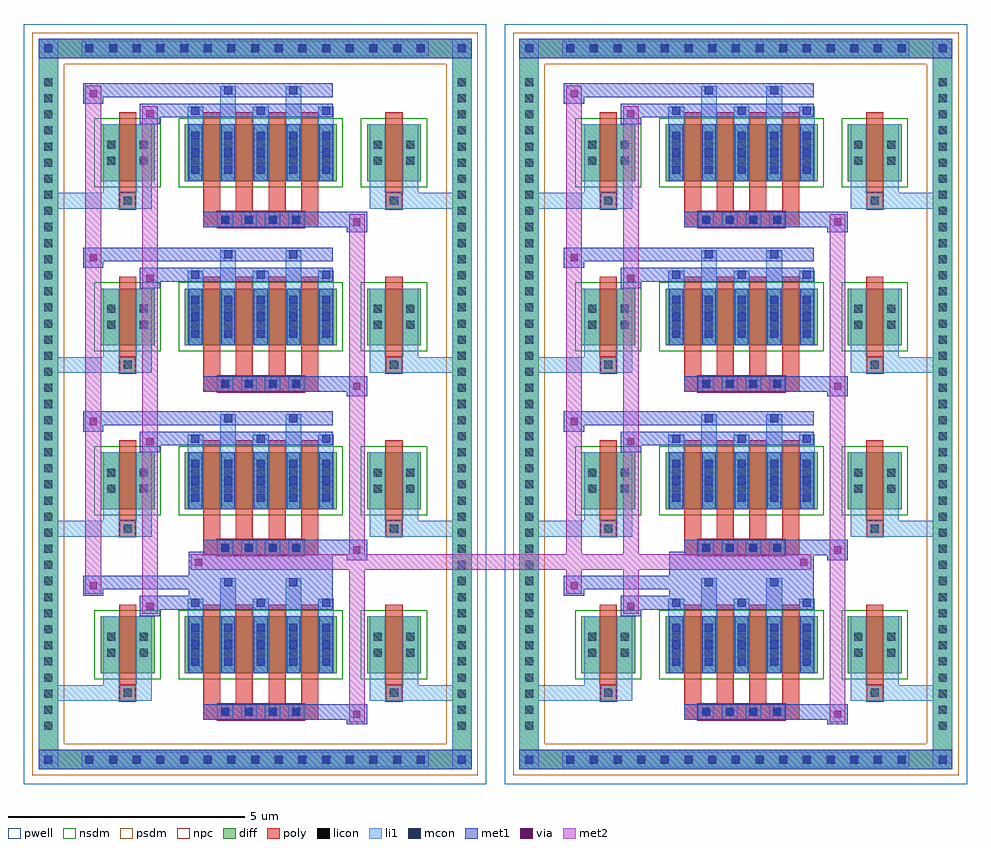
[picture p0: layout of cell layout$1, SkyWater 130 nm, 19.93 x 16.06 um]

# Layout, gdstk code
import gdstk
lib = gdstk.Library(unit=1e-6, precision=5e-09)
def R(c, l, rs):  # rectangles x0, y0, x1, y1
    for r in rs: c.add(gdstk.rectangle(r[:2], r[2:], *l))
def A(c, l, x, y, w, h, nx, ny, dx, dy):  # array of equal rectangles
    R(c, l, [(x+i*dx, y+j*dy, x+i*dx+w, y+j*dy+h) for i in range(nx) for j in range(ny)])
def P(c, l, *ps):  # polygons
    for p in ps: c.add(gdstk.Polygon(p, *l))
pwell = (64, 44)
diff = (65, 20)
poly = (66, 20)
licon = (66, 44)
li1 = (67, 20)
mcon = (67, 44)
met1 = (68, 20)
via = (68, 44)
met2 = (69, 20)
nsdm = (93, 44)
psdm = (94, 20)
npc = (95, 20)

unnamed_150e9835 = lib.new_cell('Unnamed_150e9835')
R(unnamed_150e9835, pwell, [(-4.885,-8.03,4.885,8.03)])
A(unnamed_150e9835, diff, -3.705, -7.72, 0.41, 0.41, 15, 2, 0.5, 15.03)
A(unnamed_150e9835, diff, -4.575, -7.005, 0.41, 0.41, 1, 41, 0, 0.34)
A(unnamed_150e9835, diff, 4.165, -7.005, 0.41, 0.41, 1, 41, 0, 0.34)
R(unnamed_150e9835, diff, [(-3.705,-7.72,3.705,-7.31), (-4.575,-7.005,-4.165,7.005), (4.165,-7.005,4.575,7.005), (-3.265,-5.69,-2.125,-4.49), (-1.485,-5.69,1.725,-4.49), (2.365,-5.69,3.505,-4.49), (-3.265,-2.22,-2.125,-1.02), (-1.485,-2.22,1.725,-1.02), (2.365,-2.22,3.505,-1.02), (-3.265,1.24,-2.125,2.44), (-1.485,1.24,1.725,2.44), (2.365,1.24,3.505,2.44), (-3.265,4.71,-2.125,5.91), (-1.485,4.71,1.725,5.91), (2.365,4.71,3.505,5.91), (-3.705,7.31,3.705,7.72)])
P(unnamed_150e9835, diff, [(4.575,7.72),(-4.575,7.72),(-4.575,-7.31),(-4.165,-7.31),(-4.165,7.31),(4.165,7.31),(4.165,-7.31),(-4.165,-7.31),(-4.575,-7.31),(-4.575,-7.72),(4.575,-7.72)])
A(unnamed_150e9835, poly, -0.795, -6.67, 0.33, 0.33, 4, 2, 0.5, 3.47)
A(unnamed_150e9835, poly, -1.095, -6.34, 0.36, 0.4, 4, 2, 0.69, 3.47)
A(unnamed_150e9835, poly, -1.095, -5.94, 0.36, 1.7, 4, 2, 0.69, 3.47)
A(unnamed_150e9835, poly, -0.795, 0.26, 0.33, 0.33, 4, 2, 0.5, 3.47)
A(unnamed_150e9835, poly, -1.095, 0.59, 0.36, 0.4, 4, 2, 0.69, 3.47)
A(unnamed_150e9835, poly, -1.095, 0.99, 0.36, 1.7, 4, 2, 0.69, 3.47)
R(unnamed_150e9835, poly, [(-1.095,-6.67,1.335,-6.34), (-2.86,-6.27,-2.53,-5.94), (-2.86,-6.27,-2.53,-5.94), (2.77,-6.27,3.1,-5.94), (2.77,-6.27,3.1,-5.94), (-2.875,-5.94,-2.515,-4.24), (2.755,-5.94,3.115,-4.24), (-1.095,-3.2,1.335,-2.87), (-2.86,-2.8,-2.53,-2.47), (-2.86,-2.8,-2.53,-2.47), (2.77,-2.8,3.1,-2.47), (2.77,-2.8,3.1,-2.47), (-2.875,-2.47,-2.515,-0.77), (2.755,-2.47,3.115,-0.77), (-1.095,0.26,1.335,0.59), (-2.86,0.66,-2.53,0.99), (-2.86,0.66,-2.53,0.99), (2.77,0.66,3.1,0.99), (2.77,0.66,3.1,0.99), (-2.875,0.99,-2.515,2.69), (2.755,0.99,3.115,2.69), (-1.095,3.73,1.335,4.06), (-2.86,4.13,-2.53,4.46), (-2.86,4.13,-2.53,4.46), (2.77,4.13,3.1,4.46), (2.77,4.13,3.1,4.46), (-2.875,4.46,-2.515,6.16), (2.755,4.46,3.115,6.16)])
A(unnamed_150e9835, licon, -3.585, -7.6, 0.17, 0.17, 15, 2, 0.5, 15.03)
A(unnamed_150e9835, licon, -4.455, -6.885, 0.17, 0.17, 1, 41, 0, 0.34)
A(unnamed_150e9835, licon, 4.285, -6.885, 0.17, 0.17, 1, 41, 0, 0.34)
A(unnamed_150e9835, licon, -0.715, -6.59, 0.17, 0.17, 4, 2, 0.5, 3.47)
A(unnamed_150e9835, licon, -1.345, -5.345, 0.17, 0.17, 5, 2, 0.69, 0.34)
A(unnamed_150e9835, licon, -1.345, -1.875, 0.17, 0.17, 5, 2, 0.69, 0.34)
A(unnamed_150e9835, licon, -0.715, 0.34, 0.17, 0.17, 4, 2, 0.5, 3.47)
A(unnamed_150e9835, licon, -1.345, 1.585, 0.17, 0.17, 5, 2, 0.69, 0.34)
A(unnamed_150e9835, licon, -1.345, 5.055, 0.17, 0.17, 5, 2, 0.69, 0.34)
R(unnamed_150e9835, licon, [(-2.78,-6.19,-2.61,-6.02), (2.85,-6.19,3.02,-6.02), (-3.125,-5.345,-2.955,-5.175), (-2.435,-5.345,-2.265,-5.175), (2.505,-5.345,2.675,-5.175), (3.195,-5.345,3.365,-5.175), (-3.125,-5.005,-2.955,-4.835), (-2.435,-5.005,-2.265,-4.835), (2.505,-5.005,2.675,-4.835), (3.195,-5.005,3.365,-4.835), (-2.78,-2.72,-2.61,-2.55), (2.85,-2.72,3.02,-2.55), (-3.125,-1.875,-2.955,-1.705), (-2.435,-1.875,-2.265,-1.705), (2.505,-1.875,2.675,-1.705), (3.195,-1.875,3.365,-1.705), (-3.125,-1.535,-2.955,-1.365), (-2.435,-1.535,-2.265,-1.365), (2.505,-1.535,2.675,-1.365), (3.195,-1.535,3.365,-1.365), (-2.78,0.74,-2.61,0.91), (2.85,0.74,3.02,0.91), (-3.125,1.585,-2.955,1.755), (-2.435,1.585,-2.265,1.755), (2.505,1.585,2.675,1.755), (3.195,1.585,3.365,1.755), (-3.125,1.925,-2.955,2.095), (-2.435,1.925,-2.265,2.095), (2.505,1.925,2.675,2.095), (3.195,1.925,3.365,2.095), (-2.78,4.21,-2.61,4.38), (2.85,4.21,3.02,4.38), (-3.125,5.055,-2.955,5.225), (-2.435,5.055,-2.265,5.225), (2.505,5.055,2.675,5.225), (3.195,5.055,3.365,5.225), (-3.125,5.395,-2.955,5.565), (-2.435,5.395,-2.265,5.565), (2.505,5.395,2.675,5.565), (3.195,5.395,3.365,5.565)])
A(unnamed_150e9835, li1, -3.665, -7.68, 0.33, 0.33, 15, 2, 0.5, 15.03)
A(unnamed_150e9835, li1, -4.535, -6.965, 0.33, 0.33, 1, 41, 0, 0.34)
A(unnamed_150e9835, li1, 4.205, -6.965, 0.33, 0.33, 1, 41, 0, 0.34)
A(unnamed_150e9835, li1, -0.795, -6.67, 0.33, 0.33, 4, 2, 0.5, 3.47)
A(unnamed_150e9835, li1, -1.425, -5.69, 0.33, 1.2, 5, 2, 0.69, 3.47)
A(unnamed_150e9835, li1, -1.345, -5.535, 0.17, 0.17, 5, 3, 0.69, 0.36)
A(unnamed_150e9835, li1, -1.345, -5.535, 0.17, 0.89, 5, 2, 0.69, 3.47)
A(unnamed_150e9835, li1, -1.425, -5.425, 0.33, 0.33, 5, 2, 0.69, 0.34)
A(unnamed_150e9835, li1, -1.425, -4.49, 0.33, 0.375, 3, 2, 1.38, 3.47)
A(unnamed_150e9835, li1, -1.345, -4.285, 0.17, 0.17, 3, 2, 1.38, 3.47)
A(unnamed_150e9835, li1, -1.345, -2.065, 0.17, 0.17, 5, 3, 0.69, 0.36)
A(unnamed_150e9835, li1, -1.425, -1.955, 0.33, 0.33, 5, 2, 0.69, 0.34)
A(unnamed_150e9835, li1, -0.795, 0.26, 0.33, 0.33, 4, 2, 0.5, 3.47)
A(unnamed_150e9835, li1, -1.425, 1.24, 0.33, 1.2, 5, 2, 0.69, 3.47)
A(unnamed_150e9835, li1, -1.345, 1.395, 0.17, 0.17, 5, 3, 0.69, 0.36)
A(unnamed_150e9835, li1, -1.345, 1.395, 0.17, 0.89, 5, 2, 0.69, 3.47)
A(unnamed_150e9835, li1, -1.425, 1.505, 0.33, 0.33, 5, 2, 0.69, 0.34)
A(unnamed_150e9835, li1, -1.425, 2.44, 0.33, 0.375, 3, 2, 1.38, 3.47)
A(unnamed_150e9835, li1, -1.345, 2.645, 0.17, 0.17, 3, 2, 1.38, 3.47)
A(unnamed_150e9835, li1, -1.345, 4.865, 0.17, 0.17, 5, 3, 0.69, 0.36)
A(unnamed_150e9835, li1, -1.425, 4.975, 0.33, 0.33, 5, 2, 0.69, 0.34)
R(unnamed_150e9835, li1, [(-4.575,-7.72,-4.165,-7.31), (4.165,-7.72,4.575,-7.31), (-3.665,-7.68,3.665,-7.35), (-4.455,-7.6,-4.285,-7.43), (-4.455,-7.6,-4.285,-7.43), (4.285,-7.6,4.455,-7.43), (4.285,-7.6,4.455,-7.43), (-4.575,-7.31,-4.165,7.31), (4.165,-7.31,4.575,7.31), (-4.575,-6.27,-2.86,-5.94), (-3.205,-6.27,-2.86,-5.94), (-3.205,-6.27,-2.875,-5.69), (-2.86,-6.27,-2.53,-5.94), (-2.53,-6.27,-2.185,-5.94), (-2.515,-6.27,-2.185,-5.69), (2.425,-6.27,2.77,-5.94), (2.425,-6.27,2.755,-5.69), (2.77,-6.27,3.1,-5.94), (2.77,-6.27,4.575,-5.94), (3.1,-6.27,3.445,-5.94), (3.115,-6.27,3.445,-5.69), (-3.205,-5.69,-2.875,-4.49), (-2.515,-5.69,-2.185,-4.49), (2.425,-5.69,2.755,-4.49), (3.115,-5.69,3.445,-4.49), (-3.205,-5.425,-2.875,-5.095), (-2.515,-5.425,-2.185,-5.095), (2.425,-5.425,2.755,-5.095), (3.115,-5.425,3.445,-5.095), (-3.205,-5.085,-2.875,-4.755), (-2.515,-5.085,-2.185,-4.755), (2.425,-5.085,2.755,-4.755), (3.115,-5.085,3.445,-4.755), (-0.735,-4.49,-0.405,-3.685), (0.645,-4.49,0.975,-3.685), (-0.655,-3.855,-0.485,-3.685), (0.725,-3.855,0.895,-3.685), (-4.575,-2.8,-2.86,-2.47), (-3.205,-2.8,-2.86,-2.47), (-3.205,-2.8,-2.875,-2.22), (-2.86,-2.8,-2.53,-2.47), (-2.53,-2.8,-2.185,-2.47), (-2.515,-2.8,-2.185,-2.22), (2.425,-2.8,2.77,-2.47), (2.425,-2.8,2.755,-2.22), (2.77,-2.8,3.1,-2.47), (2.77,-2.8,4.575,-2.47), (3.1,-2.8,3.445,-2.47), (3.115,-2.8,3.445,-2.22), (-3.205,-2.22,-2.875,-1.02), (-2.515,-2.22,-2.185,-1.02), (2.425,-2.22,2.755,-1.02), (3.115,-2.22,3.445,-1.02), (-3.205,-1.955,-2.875,-1.625), (-2.515,-1.955,-2.185,-1.625), (2.425,-1.955,2.755,-1.625), (3.115,-1.955,3.445,-1.625), (-3.205,-1.615,-2.875,-1.285), (-2.515,-1.615,-2.185,-1.285), (2.425,-1.615,2.755,-1.285), (3.115,-1.615,3.445,-1.285), (-0.735,-1.02,-0.405,-0.215), (0.645,-1.02,0.975,-0.215), (-0.655,-0.385,-0.485,-0.215), (0.725,-0.385,0.895,-0.215), (-4.575,0.66,-2.86,0.99), (-3.205,0.66,-2.86,0.99), (-3.205,0.66,-2.875,1.24), (-2.86,0.66,-2.53,0.99), (-2.53,0.66,-2.185,0.99), (-2.515,0.66,-2.185,1.24), (2.425,0.66,2.77,0.99), (2.425,0.66,2.755,1.24), (2.77,0.66,3.1,0.99), (2.77,0.66,4.575,0.99), (3.1,0.66,3.445,0.99), (3.115,0.66,3.445,1.24), (-3.205,1.24,-2.875,2.44), (-2.515,1.24,-2.185,2.44), (2.425,1.24,2.755,2.44), (3.115,1.24,3.445,2.44), (-3.205,1.505,-2.875,1.835), (-2.515,1.505,-2.185,1.835), (2.425,1.505,2.755,1.835), (3.115,1.505,3.445,1.835), (-3.205,1.845,-2.875,2.175), (-2.515,1.845,-2.185,2.175), (2.425,1.845,2.755,2.175), (3.115,1.845,3.445,2.175), (-0.735,2.44,-0.405,3.245), (0.645,2.44,0.975,3.245), (-0.655,3.075,-0.485,3.245), (0.725,3.075,0.895,3.245), (-4.575,4.13,-2.86,4.46), (-3.205,4.13,-2.86,4.46), (-3.205,4.13,-2.875,4.71), (-2.86,4.13,-2.53,4.46), (-2.53,4.13,-2.185,4.46), (-2.515,4.13,-2.185,4.71), (2.425,4.13,2.77,4.46), (2.425,4.13,2.755,4.71), (2.77,4.13,3.1,4.46), (2.77,4.13,4.575,4.46), (3.1,4.13,3.445,4.46), (3.115,4.13,3.445,4.71), (-3.205,4.71,-2.875,5.91), (-2.515,4.71,-2.185,5.91), (2.425,4.71,2.755,5.91), (3.115,4.71,3.445,5.91), (-3.205,4.975,-2.875,5.305), (-2.515,4.975,-2.185,5.305), (2.425,4.975,2.755,5.305), (3.115,4.975,3.445,5.305), (-3.205,5.315,-2.875,5.645), (-2.515,5.315,-2.185,5.645), (2.425,5.315,2.755,5.645), (3.115,5.315,3.445,5.645), (-0.735,5.91,-0.405,6.715), (0.645,5.91,0.975,6.715), (-0.655,6.545,-0.485,6.715), (0.725,6.545,0.895,6.715), (-4.575,7.31,-4.165,7.72), (4.165,7.31,4.575,7.72), (-3.665,7.35,3.665,7.68), (-4.455,7.43,-4.285,7.6), (-4.455,7.43,-4.285,7.6), (4.285,7.43,4.455,7.6), (4.285,7.43,4.455,7.6)])
A(unnamed_150e9835, mcon, -3.585, -7.6, 0.17, 0.17, 15, 2, 0.5, 15.03)
A(unnamed_150e9835, mcon, -0.715, -6.59, 0.17, 0.17, 4, 2, 0.5, 3.47)
A(unnamed_150e9835, mcon, -1.345, -5.535, 0.17, 0.17, 5, 3, 0.69, 0.36)
A(unnamed_150e9835, mcon, -1.345, -4.285, 0.17, 0.17, 3, 2, 1.38, 3.47)
A(unnamed_150e9835, mcon, -1.345, -2.065, 0.17, 0.17, 5, 3, 0.69, 0.36)
A(unnamed_150e9835, mcon, -0.715, 0.34, 0.17, 0.17, 4, 2, 0.5, 3.47)
A(unnamed_150e9835, mcon, -1.345, 1.395, 0.17, 0.17, 5, 3, 0.69, 0.36)
A(unnamed_150e9835, mcon, -1.345, 2.645, 0.17, 0.17, 3, 2, 1.38, 3.47)
A(unnamed_150e9835, mcon, -1.345, 4.865, 0.17, 0.17, 5, 3, 0.69, 0.36)
R(unnamed_150e9835, mcon, [(-4.455,-7.6,-4.285,-7.43), (4.285,-7.6,4.455,-7.43), (-0.655,-3.855,-0.485,-3.685), (0.725,-3.855,0.895,-3.685), (-0.655,-0.385,-0.485,-0.215), (0.725,-0.385,0.895,-0.215), (-0.655,3.075,-0.485,3.245), (0.725,3.075,0.895,3.245), (-0.655,6.545,-0.485,6.715), (0.725,6.545,0.895,6.715), (-4.455,7.43,-4.285,7.6), (4.285,7.43,4.455,7.6)])
A(unnamed_150e9835, met1, -3.645, -7.66, 0.29, 0.29, 15, 2, 0.5, 15.03)
A(unnamed_150e9835, met1, -0.775, -6.65, 0.29, 0.29, 4, 2, 0.5, 3.47)
A(unnamed_150e9835, met1, -1.405, -5.69, 0.29, 1.2, 5, 2, 0.69, 3.47)
A(unnamed_150e9835, met1, -1.405, -5.595, 0.29, 0.29, 5, 3, 0.69, 0.36)
A(unnamed_150e9835, met1, -1.405, -4.345, 0.29, 0.29, 3, 2, 1.38, 3.47)
A(unnamed_150e9835, met1, -1.405, -2.125, 0.29, 0.29, 5, 3, 0.69, 0.36)
A(unnamed_150e9835, met1, -0.775, 0.28, 0.29, 0.29, 4, 2, 0.5, 3.47)
A(unnamed_150e9835, met1, -1.405, 1.24, 0.29, 1.2, 5, 2, 0.69, 3.47)
A(unnamed_150e9835, met1, -1.405, 1.335, 0.29, 0.29, 5, 3, 0.69, 0.36)
A(unnamed_150e9835, met1, -1.405, 2.585, 0.29, 0.29, 3, 2, 1.38, 3.47)
A(unnamed_150e9835, met1, -1.405, 4.805, 0.29, 0.29, 5, 3, 0.69, 0.36)
R(unnamed_150e9835, met1, [(-4.575,-7.72,-4.165,-7.31), (-4.575,-7.72,-4.165,-7.31), (-4.165,-7.72,4.165,-7.31), (4.165,-7.72,4.575,-7.31), (4.165,-7.72,4.575,-7.31), (-4.515,-7.66,-4.225,-7.37), (4.225,-7.66,4.515,-7.37), (1.935,-6.77,2.365,-6.34), (-1.095,-6.67,1.335,-6.34), (1.335,-6.67,2.365,-6.34), (-2.435,-4.485,-2.005,-4.055), (-2.435,-4.345,-1.405,-4.055), (-1.405,-4.345,1.645,-4.055), (-3.635,-4.055,-3.205,-3.625), (-3.635,-3.915,-1.405,-3.625), (-1.405,-3.915,1.645,-3.625), (-0.715,-3.915,-0.425,-3.625), (0.665,-3.915,0.955,-3.625), (1.935,-3.3,2.365,-2.87), (1.935,-3.3,2.365,-2.87), (-1.095,-3.2,1.335,-2.87), (1.335,-3.2,2.365,-2.87), (1.335,-3.2,2.365,-2.87), (-2.435,-1.015,-2.005,-0.585), (-2.435,-1.015,-2.005,-0.585), (-2.435,-0.875,-1.405,-0.585), (-2.435,-0.875,-1.405,-0.585), (-1.405,-0.875,1.645,-0.585), (-3.635,-0.585,-3.205,-0.155), (-3.635,-0.585,-3.205,-0.155), (-3.635,-0.445,-1.405,-0.155), (-3.635,-0.445,-1.405,-0.155), (-1.405,-0.445,1.645,-0.155), (-0.715,-0.445,-0.425,-0.155), (0.665,-0.445,0.955,-0.155), (1.935,0.16,2.365,0.59), (1.935,0.16,2.365,0.59), (-1.095,0.26,1.335,0.59), (1.335,0.26,2.365,0.59), (1.335,0.26,2.365,0.59), (-2.435,2.445,-2.005,2.875), (-2.435,2.445,-2.005,2.875), (-2.435,2.585,-1.405,2.875), (-2.435,2.585,-1.405,2.875), (-1.405,2.585,1.645,2.875), (-3.635,2.875,-3.205,3.305), (-3.635,2.875,-3.205,3.305), (-3.635,3.015,-1.405,3.305), (-3.635,3.015,-1.405,3.305), (-1.405,3.015,1.645,3.305), (-0.715,3.015,-0.425,3.305), (0.665,3.015,0.955,3.305), (1.935,3.63,2.365,4.06), (-1.095,3.73,1.335,4.06), (1.335,3.73,2.365,4.06), (-2.435,5.915,-2.005,6.345), (-2.435,6.055,-1.405,6.345), (-1.405,6.055,1.645,6.345), (-3.635,6.345,-3.205,6.775), (-3.635,6.485,-1.405,6.775), (-1.405,6.485,1.645,6.775), (-0.715,6.485,-0.425,6.775), (0.665,6.485,0.955,6.775), (-4.575,7.31,-4.165,7.72), (-4.575,7.31,-4.165,7.72), (-4.165,7.31,4.165,7.72), (4.165,7.31,4.575,7.72), (4.165,7.31,4.575,7.72), (-4.515,7.37,-4.225,7.66), (4.225,7.37,4.515,7.66)])
R(unnamed_150e9835, via, [(2.075,-6.63,2.225,-6.48), (-2.295,-4.345,-2.145,-4.195), (-3.495,-3.915,-3.345,-3.765), (2.075,-3.16,2.225,-3.01), (2.075,-3.16,2.225,-3.01), (-2.295,-0.875,-2.145,-0.725), (-2.295,-0.875,-2.145,-0.725), (-3.495,-0.445,-3.345,-0.295), (-3.495,-0.445,-3.345,-0.295), (2.075,0.3,2.225,0.45), (2.075,0.3,2.225,0.45), (-2.295,2.585,-2.145,2.735), (-2.295,2.585,-2.145,2.735), (-3.495,3.015,-3.345,3.165), (-3.495,3.015,-3.345,3.165), (2.075,3.77,2.225,3.92), (-2.295,6.055,-2.145,6.205), (-3.495,6.485,-3.345,6.635)])
R(unnamed_150e9835, met2, [(1.985,-6.72,2.315,-6.39), (1.985,-6.72,2.315,-2.92), (-2.385,-4.435,-2.055,-4.105), (-2.385,-4.435,-2.055,-0.635), (-3.585,-4.005,-3.255,-3.675), (-3.585,-4.005,-3.255,-0.205), (1.985,-3.25,2.315,-2.92), (1.985,-3.25,2.315,-2.92), (1.985,-3.25,2.315,0.54), (-2.385,-0.965,-2.055,-0.635), (-2.385,-0.965,-2.055,-0.635), (-2.385,-0.965,-2.055,2.825), (-3.585,-0.535,-3.255,-0.205), (-3.585,-0.535,-3.255,-0.205), (-3.585,-0.535,-3.255,3.255), (1.985,0.21,2.315,0.54), (1.985,0.21,2.315,0.54), (1.985,0.21,2.315,4.01), (-2.385,2.495,-2.055,2.825), (-2.385,2.495,-2.055,2.825), (-2.385,2.495,-2.055,6.295), (-3.585,2.925,-3.255,3.255), (-3.585,2.925,-3.255,3.255), (-3.585,2.925,-3.255,6.725), (1.985,3.68,2.315,4.01), (-2.385,5.965,-2.055,6.295), (-3.585,6.395,-3.255,6.725)])
P(unnamed_150e9835, met2, [(2.315,0.21),(2.315,0.21),(2.315,0.54),(2.315,0.54)],
  [(2.315,3.68),(2.315,3.68),(2.315,4.01),(2.315,4.01)],
  [(-3.255,2.925),(-3.255,2.925),(-3.255,3.255),(-3.255,3.255)],
  [(-3.255,6.395),(-3.255,6.395),(-3.255,6.725),(-3.255,6.725)],
  [(-2.055,2.495),(-2.055,2.495),(-2.055,2.825),(-2.055,2.825)],
  [(-2.055,5.965),(-2.055,5.965),(-2.055,6.295),(-2.055,6.295)],
  [(2.315,-3.25),(2.315,-3.25),(2.315,-2.92),(2.315,-2.92)],
  [(2.315,0.21),(2.315,0.21),(2.315,0.54),(2.315,0.54)],
  [(-3.255,-0.535),(-3.255,-0.535),(-3.255,-0.205),(-3.255,-0.205)],
  [(-3.255,2.925),(-3.255,2.925),(-3.255,3.255),(-3.255,3.255)],
  [(-2.055,-0.965),(-2.055,-0.965),(-2.055,-0.635),(-2.055,-0.635)],
  [(-2.055,2.495),(-2.055,2.495),(-2.055,2.825),(-2.055,2.825)],
  [(2.315,-6.72),(2.315,-6.72),(2.315,-6.39),(2.315,-6.39)],
  [(2.315,-3.25),(2.315,-3.25),(2.315,-2.92),(2.315,-2.92)],
  [(-3.255,-4.005),(-3.255,-4.005),(-3.255,-3.675),(-3.255,-3.675)],
  [(-3.255,-0.535),(-3.255,-0.535),(-3.255,-0.205),(-3.255,-0.205)],
  [(-2.055,-4.435),(-2.055,-4.435),(-2.055,-4.105),(-2.055,-4.105)],
  [(-2.055,-0.965),(-2.055,-0.965),(-2.055,-0.635),(-2.055,-0.635)])
R(unnamed_150e9835, nsdm, [(-3.395,-5.82,-1.995,-4.36), (-1.615,-5.82,1.855,-4.36), (2.235,-5.82,3.635,-4.36), (-3.395,-2.35,-1.995,-0.89), (-1.615,-2.35,1.855,-0.89), (2.235,-2.35,3.635,-0.89), (-3.395,1.11,-1.995,2.57), (-1.615,1.11,1.855,2.57), (2.235,1.11,3.635,2.57), (-3.395,4.58,-1.995,6.04), (-1.615,4.58,1.855,6.04), (2.235,4.58,3.635,6.04)])
P(unnamed_150e9835, psdm, [(4.705,7.85),(-4.705,7.85),(-4.705,-7.18),(-4.035,-7.18),(-4.035,7.18),(4.035,7.18),(4.035,-7.18),(-4.035,-7.18),(-4.705,-7.18),(-4.705,-7.85),(4.705,-7.85)])
A(unnamed_150e9835, npc, -0.815, -6.69, 0.37, 0.37, 4, 2, 0.5, 3.47)
A(unnamed_150e9835, npc, -0.815, 0.24, 0.37, 0.37, 4, 2, 0.5, 3.47)
R(unnamed_150e9835, npc, [(-0.815,-6.69,0.055,-6.32), (-0.815,-6.69,0.055,-6.32), (-0.315,-6.69,0.555,-6.32), (-0.315,-6.69,0.555,-6.32), (0.185,-6.69,1.055,-6.32), (0.185,-6.69,1.055,-6.32), (-2.88,-6.29,-2.51,-5.92), (2.75,-6.29,3.12,-5.92), (-0.815,-3.22,0.055,-2.85), (-0.815,-3.22,0.055,-2.85), (-0.315,-3.22,0.555,-2.85), (-0.315,-3.22,0.555,-2.85), (0.185,-3.22,1.055,-2.85), (0.185,-3.22,1.055,-2.85), (-2.88,-2.82,-2.51,-2.45), (2.75,-2.82,3.12,-2.45), (-0.815,0.24,0.055,0.61), (-0.815,0.24,0.055,0.61), (-0.315,0.24,0.555,0.61), (-0.315,0.24,0.555,0.61), (0.185,0.24,1.055,0.61), (0.185,0.24,1.055,0.61), (-2.88,0.64,-2.51,1.01), (2.75,0.64,3.12,1.01), (-0.815,3.71,0.055,4.08), (-0.815,3.71,0.055,4.08), (-0.315,3.71,0.555,4.08), (-0.315,3.71,0.555,4.08), (0.185,3.71,1.055,4.08), (0.185,3.71,1.055,4.08), (-2.88,4.11,-2.51,4.48), (2.75,4.11,3.12,4.48)])

unnamed_a1b61c4a = lib.new_cell('Unnamed_a1b61c4a')
R(unnamed_a1b61c4a, pwell, [(-4.885,-8.03,4.885,8.03)])
A(unnamed_a1b61c4a, diff, -3.705, -7.72, 0.41, 0.41, 15, 2, 0.5, 15.03)
A(unnamed_a1b61c4a, diff, -4.575, -7.005, 0.41, 0.41, 1, 41, 0, 0.34)
A(unnamed_a1b61c4a, diff, 4.165, -7.005, 0.41, 0.41, 1, 41, 0, 0.34)
R(unnamed_a1b61c4a, diff, [(-3.705,-7.72,3.705,-7.31), (-4.575,-7.005,-4.165,7.005), (4.165,-7.005,4.575,7.005), (-3.265,-5.69,-2.125,-4.49), (-1.485,-5.69,1.725,-4.49), (2.365,-5.69,3.505,-4.49), (-3.265,-2.22,-2.125,-1.02), (-1.485,-2.22,1.725,-1.02), (2.365,-2.22,3.505,-1.02), (-3.265,1.24,-2.125,2.44), (-1.485,1.24,1.725,2.44), (2.365,1.24,3.505,2.44), (-3.265,4.71,-2.125,5.91), (-1.485,4.71,1.725,5.91), (2.365,4.71,3.505,5.91), (-3.705,7.31,3.705,7.72)])
P(unnamed_a1b61c4a, diff, [(4.575,7.72),(-4.575,7.72),(-4.575,-7.31),(-4.165,-7.31),(-4.165,7.31),(4.165,7.31),(4.165,-7.31),(-4.165,-7.31),(-4.575,-7.31),(-4.575,-7.72),(4.575,-7.72)])
A(unnamed_a1b61c4a, poly, -0.795, -6.67, 0.33, 0.33, 4, 2, 0.5, 3.47)
A(unnamed_a1b61c4a, poly, -1.095, -6.34, 0.36, 0.4, 4, 2, 0.69, 3.47)
A(unnamed_a1b61c4a, poly, -1.095, -5.94, 0.36, 1.7, 4, 2, 0.69, 3.47)
A(unnamed_a1b61c4a, poly, -0.795, 0.26, 0.33, 0.33, 4, 2, 0.5, 3.47)
A(unnamed_a1b61c4a, poly, -1.095, 0.59, 0.36, 0.4, 4, 2, 0.69, 3.47)
A(unnamed_a1b61c4a, poly, -1.095, 0.99, 0.36, 1.7, 4, 2, 0.69, 3.47)
R(unnamed_a1b61c4a, poly, [(-1.095,-6.67,1.335,-6.34), (-2.86,-6.27,-2.53,-5.94), (-2.86,-6.27,-2.53,-5.94), (2.77,-6.27,3.1,-5.94), (2.77,-6.27,3.1,-5.94), (-2.875,-5.94,-2.515,-4.24), (2.755,-5.94,3.115,-4.24), (-1.095,-3.2,1.335,-2.87), (-2.86,-2.8,-2.53,-2.47), (-2.86,-2.8,-2.53,-2.47), (2.77,-2.8,3.1,-2.47), (2.77,-2.8,3.1,-2.47), (-2.875,-2.47,-2.515,-0.77), (2.755,-2.47,3.115,-0.77), (-1.095,0.26,1.335,0.59), (-2.86,0.66,-2.53,0.99), (-2.86,0.66,-2.53,0.99), (2.77,0.66,3.1,0.99), (2.77,0.66,3.1,0.99), (-2.875,0.99,-2.515,2.69), (2.755,0.99,3.115,2.69), (-1.095,3.73,1.335,4.06), (-2.86,4.13,-2.53,4.46), (-2.86,4.13,-2.53,4.46), (2.77,4.13,3.1,4.46), (2.77,4.13,3.1,4.46), (-2.875,4.46,-2.515,6.16), (2.755,4.46,3.115,6.16)])
A(unnamed_a1b61c4a, licon, -3.585, -7.6, 0.17, 0.17, 15, 2, 0.5, 15.03)
A(unnamed_a1b61c4a, licon, -4.455, -6.885, 0.17, 0.17, 1, 41, 0, 0.34)
A(unnamed_a1b61c4a, licon, 4.285, -6.885, 0.17, 0.17, 1, 41, 0, 0.34)
A(unnamed_a1b61c4a, licon, -0.715, -6.59, 0.17, 0.17, 4, 2, 0.5, 3.47)
A(unnamed_a1b61c4a, licon, -1.345, -5.345, 0.17, 0.17, 5, 2, 0.69, 0.34)
A(unnamed_a1b61c4a, licon, -1.345, -1.875, 0.17, 0.17, 5, 2, 0.69, 0.34)
A(unnamed_a1b61c4a, licon, -0.715, 0.34, 0.17, 0.17, 4, 2, 0.5, 3.47)
A(unnamed_a1b61c4a, licon, -1.345, 1.585, 0.17, 0.17, 5, 2, 0.69, 0.34)
A(unnamed_a1b61c4a, licon, -1.345, 5.055, 0.17, 0.17, 5, 2, 0.69, 0.34)
R(unnamed_a1b61c4a, licon, [(-2.78,-6.19,-2.61,-6.02), (2.85,-6.19,3.02,-6.02), (-3.125,-5.345,-2.955,-5.175), (-2.435,-5.345,-2.265,-5.175), (2.505,-5.345,2.675,-5.175), (3.195,-5.345,3.365,-5.175), (-3.125,-5.005,-2.955,-4.835), (-2.435,-5.005,-2.265,-4.835), (2.505,-5.005,2.675,-4.835), (3.195,-5.005,3.365,-4.835), (-2.78,-2.72,-2.61,-2.55), (2.85,-2.72,3.02,-2.55), (-3.125,-1.875,-2.955,-1.705), (-2.435,-1.875,-2.265,-1.705), (2.505,-1.875,2.675,-1.705), (3.195,-1.875,3.365,-1.705), (-3.125,-1.535,-2.955,-1.365), (-2.435,-1.535,-2.265,-1.365), (2.505,-1.535,2.675,-1.365), (3.195,-1.535,3.365,-1.365), (-2.78,0.74,-2.61,0.91), (2.85,0.74,3.02,0.91), (-3.125,1.585,-2.955,1.755), (-2.435,1.585,-2.265,1.755), (2.505,1.585,2.675,1.755), (3.195,1.585,3.365,1.755), (-3.125,1.925,-2.955,2.095), (-2.435,1.925,-2.265,2.095), (2.505,1.925,2.675,2.095), (3.195,1.925,3.365,2.095), (-2.78,4.21,-2.61,4.38), (2.85,4.21,3.02,4.38), (-3.125,5.055,-2.955,5.225), (-2.435,5.055,-2.265,5.225), (2.505,5.055,2.675,5.225), (3.195,5.055,3.365,5.225), (-3.125,5.395,-2.955,5.565), (-2.435,5.395,-2.265,5.565), (2.505,5.395,2.675,5.565), (3.195,5.395,3.365,5.565)])
A(unnamed_a1b61c4a, li1, -3.665, -7.68, 0.33, 0.33, 15, 2, 0.5, 15.03)
A(unnamed_a1b61c4a, li1, -4.535, -6.965, 0.33, 0.33, 1, 41, 0, 0.34)
A(unnamed_a1b61c4a, li1, 4.205, -6.965, 0.33, 0.33, 1, 41, 0, 0.34)
A(unnamed_a1b61c4a, li1, -0.795, -6.67, 0.33, 0.33, 4, 2, 0.5, 3.47)
A(unnamed_a1b61c4a, li1, -1.425, -5.69, 0.33, 1.2, 5, 2, 0.69, 3.47)
A(unnamed_a1b61c4a, li1, -1.345, -5.535, 0.17, 0.17, 5, 3, 0.69, 0.36)
A(unnamed_a1b61c4a, li1, -1.345, -5.535, 0.17, 0.89, 5, 2, 0.69, 3.47)
A(unnamed_a1b61c4a, li1, -1.425, -5.425, 0.33, 0.33, 5, 2, 0.69, 0.34)
A(unnamed_a1b61c4a, li1, -1.425, -4.49, 0.33, 0.375, 3, 2, 1.38, 3.47)
A(unnamed_a1b61c4a, li1, -1.345, -4.285, 0.17, 0.17, 3, 2, 1.38, 3.47)
A(unnamed_a1b61c4a, li1, -1.345, -2.065, 0.17, 0.17, 5, 3, 0.69, 0.36)
A(unnamed_a1b61c4a, li1, -1.425, -1.955, 0.33, 0.33, 5, 2, 0.69, 0.34)
A(unnamed_a1b61c4a, li1, -0.795, 0.26, 0.33, 0.33, 4, 2, 0.5, 3.47)
A(unnamed_a1b61c4a, li1, -1.425, 1.24, 0.33, 1.2, 5, 2, 0.69, 3.47)
A(unnamed_a1b61c4a, li1, -1.345, 1.395, 0.17, 0.17, 5, 3, 0.69, 0.36)
A(unnamed_a1b61c4a, li1, -1.345, 1.395, 0.17, 0.89, 5, 2, 0.69, 3.47)
A(unnamed_a1b61c4a, li1, -1.425, 1.505, 0.33, 0.33, 5, 2, 0.69, 0.34)
A(unnamed_a1b61c4a, li1, -1.425, 2.44, 0.33, 0.375, 3, 2, 1.38, 3.47)
A(unnamed_a1b61c4a, li1, -1.345, 2.645, 0.17, 0.17, 3, 2, 1.38, 3.47)
A(unnamed_a1b61c4a, li1, -1.345, 4.865, 0.17, 0.17, 5, 3, 0.69, 0.36)
A(unnamed_a1b61c4a, li1, -1.425, 4.975, 0.33, 0.33, 5, 2, 0.69, 0.34)
R(unnamed_a1b61c4a, li1, [(-4.575,-7.72,-4.165,-7.31), (4.165,-7.72,4.575,-7.31), (-3.665,-7.68,3.665,-7.35), (-4.455,-7.6,-4.285,-7.43), (-4.455,-7.6,-4.285,-7.43), (4.285,-7.6,4.455,-7.43), (4.285,-7.6,4.455,-7.43), (-4.575,-7.31,-4.165,7.31), (4.165,-7.31,4.575,7.31), (-4.575,-6.27,-2.86,-5.94), (-3.205,-6.27,-2.86,-5.94), (-3.205,-6.27,-2.875,-5.69), (-2.86,-6.27,-2.53,-5.94), (-2.53,-6.27,-2.185,-5.94), (-2.515,-6.27,-2.185,-5.69), (2.425,-6.27,2.77,-5.94), (2.425,-6.27,2.755,-5.69), (2.77,-6.27,3.1,-5.94), (2.77,-6.27,4.575,-5.94), (3.1,-6.27,3.445,-5.94), (3.115,-6.27,3.445,-5.69), (-3.205,-5.69,-2.875,-4.49), (-2.515,-5.69,-2.185,-4.49), (2.425,-5.69,2.755,-4.49), (3.115,-5.69,3.445,-4.49), (-3.205,-5.425,-2.875,-5.095), (-2.515,-5.425,-2.185,-5.095), (2.425,-5.425,2.755,-5.095), (3.115,-5.425,3.445,-5.095), (-3.205,-5.085,-2.875,-4.755), (-2.515,-5.085,-2.185,-4.755), (2.425,-5.085,2.755,-4.755), (3.115,-5.085,3.445,-4.755), (-0.735,-4.49,-0.405,-3.685), (0.645,-4.49,0.975,-3.685), (-0.655,-3.855,-0.485,-3.685), (0.725,-3.855,0.895,-3.685), (-4.575,-2.8,-2.86,-2.47), (-3.205,-2.8,-2.86,-2.47), (-3.205,-2.8,-2.875,-2.22), (-2.86,-2.8,-2.53,-2.47), (-2.53,-2.8,-2.185,-2.47), (-2.515,-2.8,-2.185,-2.22), (2.425,-2.8,2.77,-2.47), (2.425,-2.8,2.755,-2.22), (2.77,-2.8,3.1,-2.47), (2.77,-2.8,4.575,-2.47), (3.1,-2.8,3.445,-2.47), (3.115,-2.8,3.445,-2.22), (-3.205,-2.22,-2.875,-1.02), (-2.515,-2.22,-2.185,-1.02), (2.425,-2.22,2.755,-1.02), (3.115,-2.22,3.445,-1.02), (-3.205,-1.955,-2.875,-1.625), (-2.515,-1.955,-2.185,-1.625), (2.425,-1.955,2.755,-1.625), (3.115,-1.955,3.445,-1.625), (-3.205,-1.615,-2.875,-1.285), (-2.515,-1.615,-2.185,-1.285), (2.425,-1.615,2.755,-1.285), (3.115,-1.615,3.445,-1.285), (-0.735,-1.02,-0.405,-0.215), (0.645,-1.02,0.975,-0.215), (-0.655,-0.385,-0.485,-0.215), (0.725,-0.385,0.895,-0.215), (-4.575,0.66,-2.86,0.99), (-3.205,0.66,-2.86,0.99), (-3.205,0.66,-2.875,1.24), (-2.86,0.66,-2.53,0.99), (-2.53,0.66,-2.185,0.99), (-2.515,0.66,-2.185,1.24), (2.425,0.66,2.77,0.99), (2.425,0.66,2.755,1.24), (2.77,0.66,3.1,0.99), (2.77,0.66,4.575,0.99), (3.1,0.66,3.445,0.99), (3.115,0.66,3.445,1.24), (-3.205,1.24,-2.875,2.44), (-2.515,1.24,-2.185,2.44), (2.425,1.24,2.755,2.44), (3.115,1.24,3.445,2.44), (-3.205,1.505,-2.875,1.835), (-2.515,1.505,-2.185,1.835), (2.425,1.505,2.755,1.835), (3.115,1.505,3.445,1.835), (-3.205,1.845,-2.875,2.175), (-2.515,1.845,-2.185,2.175), (2.425,1.845,2.755,2.175), (3.115,1.845,3.445,2.175), (-0.735,2.44,-0.405,3.245), (0.645,2.44,0.975,3.245), (-0.655,3.075,-0.485,3.245), (0.725,3.075,0.895,3.245), (-4.575,4.13,-2.86,4.46), (-3.205,4.13,-2.86,4.46), (-3.205,4.13,-2.875,4.71), (-2.86,4.13,-2.53,4.46), (-2.53,4.13,-2.185,4.46), (-2.515,4.13,-2.185,4.71), (2.425,4.13,2.77,4.46), (2.425,4.13,2.755,4.71), (2.77,4.13,3.1,4.46), (2.77,4.13,4.575,4.46), (3.1,4.13,3.445,4.46), (3.115,4.13,3.445,4.71), (-3.205,4.71,-2.875,5.91), (-2.515,4.71,-2.185,5.91), (2.425,4.71,2.755,5.91), (3.115,4.71,3.445,5.91), (-3.205,4.975,-2.875,5.305), (-2.515,4.975,-2.185,5.305), (2.425,4.975,2.755,5.305), (3.115,4.975,3.445,5.305), (-3.205,5.315,-2.875,5.645), (-2.515,5.315,-2.185,5.645), (2.425,5.315,2.755,5.645), (3.115,5.315,3.445,5.645), (-0.735,5.91,-0.405,6.715), (0.645,5.91,0.975,6.715), (-0.655,6.545,-0.485,6.715), (0.725,6.545,0.895,6.715), (-4.575,7.31,-4.165,7.72), (4.165,7.31,4.575,7.72), (-3.665,7.35,3.665,7.68), (-4.455,7.43,-4.285,7.6), (-4.455,7.43,-4.285,7.6), (4.285,7.43,4.455,7.6), (4.285,7.43,4.455,7.6)])
A(unnamed_a1b61c4a, mcon, -3.585, -7.6, 0.17, 0.17, 15, 2, 0.5, 15.03)
A(unnamed_a1b61c4a, mcon, -0.715, -6.59, 0.17, 0.17, 4, 2, 0.5, 3.47)
A(unnamed_a1b61c4a, mcon, -1.345, -5.535, 0.17, 0.17, 5, 3, 0.69, 0.36)
A(unnamed_a1b61c4a, mcon, -1.345, -4.285, 0.17, 0.17, 3, 2, 1.38, 3.47)
A(unnamed_a1b61c4a, mcon, -1.345, -2.065, 0.17, 0.17, 5, 3, 0.69, 0.36)
A(unnamed_a1b61c4a, mcon, -0.715, 0.34, 0.17, 0.17, 4, 2, 0.5, 3.47)
A(unnamed_a1b61c4a, mcon, -1.345, 1.395, 0.17, 0.17, 5, 3, 0.69, 0.36)
A(unnamed_a1b61c4a, mcon, -1.345, 2.645, 0.17, 0.17, 3, 2, 1.38, 3.47)
A(unnamed_a1b61c4a, mcon, -1.345, 4.865, 0.17, 0.17, 5, 3, 0.69, 0.36)
R(unnamed_a1b61c4a, mcon, [(-4.455,-7.6,-4.285,-7.43), (4.285,-7.6,4.455,-7.43), (-0.655,-3.855,-0.485,-3.685), (0.725,-3.855,0.895,-3.685), (-0.655,-0.385,-0.485,-0.215), (0.725,-0.385,0.895,-0.215), (-0.655,3.075,-0.485,3.245), (0.725,3.075,0.895,3.245), (-0.655,6.545,-0.485,6.715), (0.725,6.545,0.895,6.715), (-4.455,7.43,-4.285,7.6), (4.285,7.43,4.455,7.6)])
A(unnamed_a1b61c4a, met1, -3.645, -7.66, 0.29, 0.29, 15, 2, 0.5, 15.03)
A(unnamed_a1b61c4a, met1, -0.775, -6.65, 0.29, 0.29, 4, 2, 0.5, 3.47)
A(unnamed_a1b61c4a, met1, -1.405, -5.69, 0.29, 1.2, 5, 2, 0.69, 3.47)
A(unnamed_a1b61c4a, met1, -1.405, -5.595, 0.29, 0.29, 5, 3, 0.69, 0.36)
A(unnamed_a1b61c4a, met1, -1.405, -4.345, 0.29, 0.29, 3, 2, 1.38, 3.47)
A(unnamed_a1b61c4a, met1, -1.405, -2.125, 0.29, 0.29, 5, 3, 0.69, 0.36)
A(unnamed_a1b61c4a, met1, -0.775, 0.28, 0.29, 0.29, 4, 2, 0.5, 3.47)
A(unnamed_a1b61c4a, met1, -1.405, 1.24, 0.29, 1.2, 5, 2, 0.69, 3.47)
A(unnamed_a1b61c4a, met1, -1.405, 1.335, 0.29, 0.29, 5, 3, 0.69, 0.36)
A(unnamed_a1b61c4a, met1, -1.405, 2.585, 0.29, 0.29, 3, 2, 1.38, 3.47)
A(unnamed_a1b61c4a, met1, -1.405, 4.805, 0.29, 0.29, 5, 3, 0.69, 0.36)
R(unnamed_a1b61c4a, met1, [(-4.575,-7.72,-4.165,-7.31), (-4.575,-7.72,-4.165,-7.31), (-4.165,-7.72,4.165,-7.31), (4.165,-7.72,4.575,-7.31), (4.165,-7.72,4.575,-7.31), (-4.515,-7.66,-4.225,-7.37), (4.225,-7.66,4.515,-7.37), (1.935,-6.77,2.365,-6.34), (-1.095,-6.67,1.335,-6.34), (1.335,-6.67,2.365,-6.34), (-2.435,-4.485,-2.005,-4.055), (-2.435,-4.345,-1.405,-4.055), (-1.405,-4.345,1.645,-4.055), (-3.635,-4.055,-3.205,-3.625), (-3.635,-3.915,-1.405,-3.625), (-1.405,-3.915,1.645,-3.625), (-0.715,-3.915,-0.425,-3.625), (0.665,-3.915,0.955,-3.625), (1.935,-3.3,2.365,-2.87), (1.935,-3.3,2.365,-2.87), (-1.095,-3.2,1.335,-2.87), (1.335,-3.2,2.365,-2.87), (1.335,-3.2,2.365,-2.87), (-2.435,-1.015,-2.005,-0.585), (-2.435,-1.015,-2.005,-0.585), (-2.435,-0.875,-1.405,-0.585), (-2.435,-0.875,-1.405,-0.585), (-1.405,-0.875,1.645,-0.585), (-3.635,-0.585,-3.205,-0.155), (-3.635,-0.585,-3.205,-0.155), (-3.635,-0.445,-1.405,-0.155), (-3.635,-0.445,-1.405,-0.155), (-1.405,-0.445,1.645,-0.155), (-0.715,-0.445,-0.425,-0.155), (0.665,-0.445,0.955,-0.155), (1.935,0.16,2.365,0.59), (1.935,0.16,2.365,0.59), (-1.095,0.26,1.335,0.59), (1.335,0.26,2.365,0.59), (1.335,0.26,2.365,0.59), (-2.435,2.445,-2.005,2.875), (-2.435,2.445,-2.005,2.875), (-2.435,2.585,-1.405,2.875), (-2.435,2.585,-1.405,2.875), (-1.405,2.585,1.645,2.875), (-3.635,2.875,-3.205,3.305), (-3.635,2.875,-3.205,3.305), (-3.635,3.015,-1.405,3.305), (-3.635,3.015,-1.405,3.305), (-1.405,3.015,1.645,3.305), (-0.715,3.015,-0.425,3.305), (0.665,3.015,0.955,3.305), (1.935,3.63,2.365,4.06), (-1.095,3.73,1.335,4.06), (1.335,3.73,2.365,4.06), (-2.435,5.915,-2.005,6.345), (-2.435,6.055,-1.405,6.345), (-1.405,6.055,1.645,6.345), (-3.635,6.345,-3.205,6.775), (-3.635,6.485,-1.405,6.775), (-1.405,6.485,1.645,6.775), (-0.715,6.485,-0.425,6.775), (0.665,6.485,0.955,6.775), (-4.575,7.31,-4.165,7.72), (-4.575,7.31,-4.165,7.72), (-4.165,7.31,4.165,7.72), (4.165,7.31,4.575,7.72), (4.165,7.31,4.575,7.72), (-4.515,7.37,-4.225,7.66), (4.225,7.37,4.515,7.66)])
R(unnamed_a1b61c4a, via, [(2.075,-6.63,2.225,-6.48), (-2.295,-4.345,-2.145,-4.195), (-3.495,-3.915,-3.345,-3.765), (2.075,-3.16,2.225,-3.01), (2.075,-3.16,2.225,-3.01), (-2.295,-0.875,-2.145,-0.725), (-2.295,-0.875,-2.145,-0.725), (-3.495,-0.445,-3.345,-0.295), (-3.495,-0.445,-3.345,-0.295), (2.075,0.3,2.225,0.45), (2.075,0.3,2.225,0.45), (-2.295,2.585,-2.145,2.735), (-2.295,2.585,-2.145,2.735), (-3.495,3.015,-3.345,3.165), (-3.495,3.015,-3.345,3.165), (2.075,3.77,2.225,3.92), (-2.295,6.055,-2.145,6.205), (-3.495,6.485,-3.345,6.635)])
R(unnamed_a1b61c4a, met2, [(1.985,-6.72,2.315,-6.39), (1.985,-6.72,2.315,-2.92), (-2.385,-4.435,-2.055,-4.105), (-2.385,-4.435,-2.055,-0.635), (-3.585,-4.005,-3.255,-3.675), (-3.585,-4.005,-3.255,-0.205), (1.985,-3.25,2.315,-2.92), (1.985,-3.25,2.315,-2.92), (1.985,-3.25,2.315,0.54), (-2.385,-0.965,-2.055,-0.635), (-2.385,-0.965,-2.055,-0.635), (-2.385,-0.965,-2.055,2.825), (-3.585,-0.535,-3.255,-0.205), (-3.585,-0.535,-3.255,-0.205), (-3.585,-0.535,-3.255,3.255), (1.985,0.21,2.315,0.54), (1.985,0.21,2.315,0.54), (1.985,0.21,2.315,4.01), (-2.385,2.495,-2.055,2.825), (-2.385,2.495,-2.055,2.825), (-2.385,2.495,-2.055,6.295), (-3.585,2.925,-3.255,3.255), (-3.585,2.925,-3.255,3.255), (-3.585,2.925,-3.255,6.725), (1.985,3.68,2.315,4.01), (-2.385,5.965,-2.055,6.295), (-3.585,6.395,-3.255,6.725)])
P(unnamed_a1b61c4a, met2, [(2.315,0.21),(2.315,0.21),(2.315,0.54),(2.315,0.54)],
  [(2.315,3.68),(2.315,3.68),(2.315,4.01),(2.315,4.01)],
  [(-3.255,2.925),(-3.255,2.925),(-3.255,3.255),(-3.255,3.255)],
  [(-3.255,6.395),(-3.255,6.395),(-3.255,6.725),(-3.255,6.725)],
  [(-2.055,2.495),(-2.055,2.495),(-2.055,2.825),(-2.055,2.825)],
  [(-2.055,5.965),(-2.055,5.965),(-2.055,6.295),(-2.055,6.295)],
  [(2.315,-3.25),(2.315,-3.25),(2.315,-2.92),(2.315,-2.92)],
  [(2.315,0.21),(2.315,0.21),(2.315,0.54),(2.315,0.54)],
  [(-3.255,-0.535),(-3.255,-0.535),(-3.255,-0.205),(-3.255,-0.205)],
  [(-3.255,2.925),(-3.255,2.925),(-3.255,3.255),(-3.255,3.255)],
  [(-2.055,-0.965),(-2.055,-0.965),(-2.055,-0.635),(-2.055,-0.635)],
  [(-2.055,2.495),(-2.055,2.495),(-2.055,2.825),(-2.055,2.825)],
  [(2.315,-6.72),(2.315,-6.72),(2.315,-6.39),(2.315,-6.39)],
  [(2.315,-3.25),(2.315,-3.25),(2.315,-2.92),(2.315,-2.92)],
  [(-3.255,-4.005),(-3.255,-4.005),(-3.255,-3.675),(-3.255,-3.675)],
  [(-3.255,-0.535),(-3.255,-0.535),(-3.255,-0.205),(-3.255,-0.205)],
  [(-2.055,-4.435),(-2.055,-4.435),(-2.055,-4.105),(-2.055,-4.105)],
  [(-2.055,-0.965),(-2.055,-0.965),(-2.055,-0.635),(-2.055,-0.635)])
R(unnamed_a1b61c4a, nsdm, [(-3.395,-5.82,-1.995,-4.36), (-1.615,-5.82,1.855,-4.36), (2.235,-5.82,3.635,-4.36), (-3.395,-2.35,-1.995,-0.89), (-1.615,-2.35,1.855,-0.89), (2.235,-2.35,3.635,-0.89), (-3.395,1.11,-1.995,2.57), (-1.615,1.11,1.855,2.57), (2.235,1.11,3.635,2.57), (-3.395,4.58,-1.995,6.04), (-1.615,4.58,1.855,6.04), (2.235,4.58,3.635,6.04)])
P(unnamed_a1b61c4a, psdm, [(4.705,7.85),(-4.705,7.85),(-4.705,-7.18),(-4.035,-7.18),(-4.035,7.18),(4.035,7.18),(4.035,-7.18),(-4.035,-7.18),(-4.705,-7.18),(-4.705,-7.85),(4.705,-7.85)])
A(unnamed_a1b61c4a, npc, -0.815, -6.69, 0.37, 0.37, 4, 2, 0.5, 3.47)
A(unnamed_a1b61c4a, npc, -0.815, 0.24, 0.37, 0.37, 4, 2, 0.5, 3.47)
R(unnamed_a1b61c4a, npc, [(-0.815,-6.69,0.055,-6.32), (-0.815,-6.69,0.055,-6.32), (-0.315,-6.69,0.555,-6.32), (-0.315,-6.69,0.555,-6.32), (0.185,-6.69,1.055,-6.32), (0.185,-6.69,1.055,-6.32), (-2.88,-6.29,-2.51,-5.92), (2.75,-6.29,3.12,-5.92), (-0.815,-3.22,0.055,-2.85), (-0.815,-3.22,0.055,-2.85), (-0.315,-3.22,0.555,-2.85), (-0.315,-3.22,0.555,-2.85), (0.185,-3.22,1.055,-2.85), (0.185,-3.22,1.055,-2.85), (-2.88,-2.82,-2.51,-2.45), (2.75,-2.82,3.12,-2.45), (-0.815,0.24,0.055,0.61), (-0.815,0.24,0.055,0.61), (-0.315,0.24,0.555,0.61), (-0.315,0.24,0.555,0.61), (0.185,0.24,1.055,0.61), (0.185,0.24,1.055,0.61), (-2.88,0.64,-2.51,1.01), (2.75,0.64,3.12,1.01), (-0.815,3.71,0.055,4.08), (-0.815,3.71,0.055,4.08), (-0.315,3.71,0.555,4.08), (-0.315,3.71,0.555,4.08), (0.185,3.71,1.055,4.08), (0.185,3.71,1.055,4.08), (-2.88,4.11,-2.51,4.48), (2.75,4.11,3.12,4.48)])

c_route_98114ed2 = lib.new_cell('c_route_98114ed2')
R(c_route_98114ed2, met1, [(-1.405,-4.055,1.645,-3.125), (8.755,-4.055,11.805,-3.125), (-1.405,-3.555,-0.975,-3.125), (11.375,-3.555,11.805,-3.125)])
R(c_route_98114ed2, via, [(-1.265,-3.415,-1.115,-3.265), (11.515,-3.415,11.665,-3.265)])
R(c_route_98114ed2, met2, [(-1.355,-3.505,-1.025,-3.175), (-1.355,-3.505,11.755,-3.175), (11.425,-3.505,11.755,-3.175)])
P(c_route_98114ed2, met2, [(-1.355,-3.175),(-1.025,-3.175),(-1.025,-3.175),(-1.355,-3.175)],
  [(11.425,-3.175),(11.755,-3.175),(11.755,-3.175),(11.425,-3.175)])

layout_1 = lib.new_cell('layout$1')
layout_1.add(gdstk.Reference(unnamed_150e9835, (0,0)))
layout_1.add(gdstk.Reference(unnamed_a1b61c4a, (10.16,0)))
layout_1.add(gdstk.Reference(c_route_98114ed2, (0,0)))

lib.write_gds('layout_1.gds')
